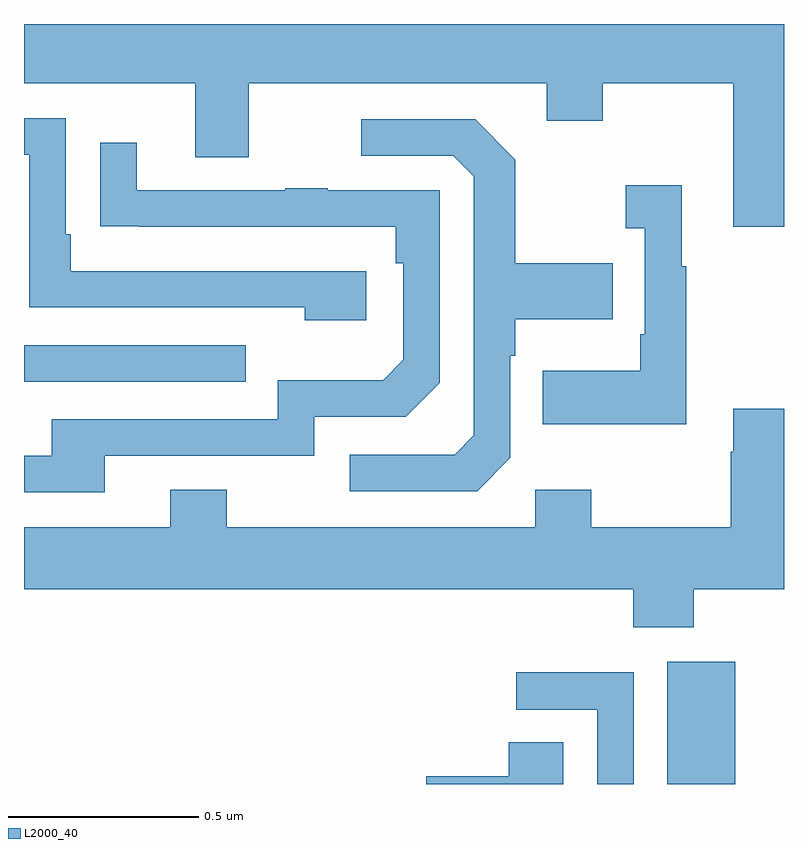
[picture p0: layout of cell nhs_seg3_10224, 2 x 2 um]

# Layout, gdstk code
import gdstk
lib = gdstk.Library(unit=1e-6, precision=1e-09)
def R(c, l, rs):  # rectangles x0, y0, x1, y1
    for r in rs: c.add(gdstk.rectangle(r[:2], r[2:], *l))
def P(c, l, *ps):  # polygons
    for p in ps: c.add(gdstk.Polygon(p, *l))
L2000_40 = (2000, 40)

nhs_seg3_10224 = lib.new_cell('nhs_seg3_10224')
R(nhs_seg3_10224, L2000_40, [(239.693,704.4,239.872,704.722), (238,705.459,238.583,705.555)])
P(nhs_seg3_10224, L2000_40, [(240,706.4),(238,706.4),(238,706.244),(238.451,706.244),(238.451,706.05),(238.591,706.05),(238.591,706.244),(239.375,706.244),(239.375,706.145),(239.523,706.145),(239.523,706.244),(239.867,706.244),(239.867,705.867),(240,705.867)],
  [(238.9,705.75),(238.123,705.75),(238.123,705.847),(238.11,705.847),(238.11,706.152),(238,706.152),(238,706.056),(238.014,706.056),(238.014,705.654),(238.739,705.654),(238.739,705.62),(238.9,705.62)],
  [(239.28,705.258),(239.28,705.527),(239.293,705.527),(239.293,705.623),(239.549,705.623),(239.549,705.771),(239.293,705.771),(239.293,706.043),(239.187,706.149),(238.887,706.149),(238.887,706.053),(239.13,706.053),(239.184,705.999),(239.184,705.318),(239.133,705.267),(238.857,705.267),(238.857,705.171),(239.193,705.171)],
  [(238.213,705.264),(238.764,705.264),(238.764,705.366),(239.004,705.366),(239.094,705.456),(239.094,705.963),(238.799,705.963),(238.799,705.968),(238.687,705.968),(238.687,705.963),(238.297,705.963),(238.297,706.087),(238.201,706.087),(238.201,705.868),(238.303,705.868),(238.303,705.867),(238.978,705.867),(238.978,705.77),(238.998,705.77),(238.998,705.516),(238.945,705.463),(238.668,705.463),(238.668,705.36),(238.073,705.36),(238.073,705.264),(238,705.264),(238,705.168),(238.213,705.168)],
  [(239.743,705.763),(239.731,705.763),(239.731,705.976),(239.583,705.976),(239.583,705.863),(239.634,705.863),(239.634,705.583),(239.622,705.583),(239.622,705.487),(239.365,705.487),(239.365,705.347),(239.743,705.347)],
  [(239.763,704.912),(240,704.912),(240,705.388),(239.867,705.388),(239.867,705.275),(239.86,705.275),(239.86,705.076),(239.493,705.076),(239.493,705.175),(239.346,705.175),(239.346,705.076),(238.533,705.076),(238.533,705.175),(238.385,705.175),(238.385,705.076),(238,705.076),(238,704.912),(239.603,704.912),(239.603,704.813),(239.763,704.813)],
  [(239.604,704.694),(239.295,704.694),(239.295,704.595),(239.508,704.595),(239.508,704.4),(239.604,704.4)],
  [(239.419,704.51),(239.276,704.51),(239.276,704.42),(239.058,704.42),(239.058,704.4),(239.419,704.4)])

lib.write_gds('nhs_seg3_10224.gds')
